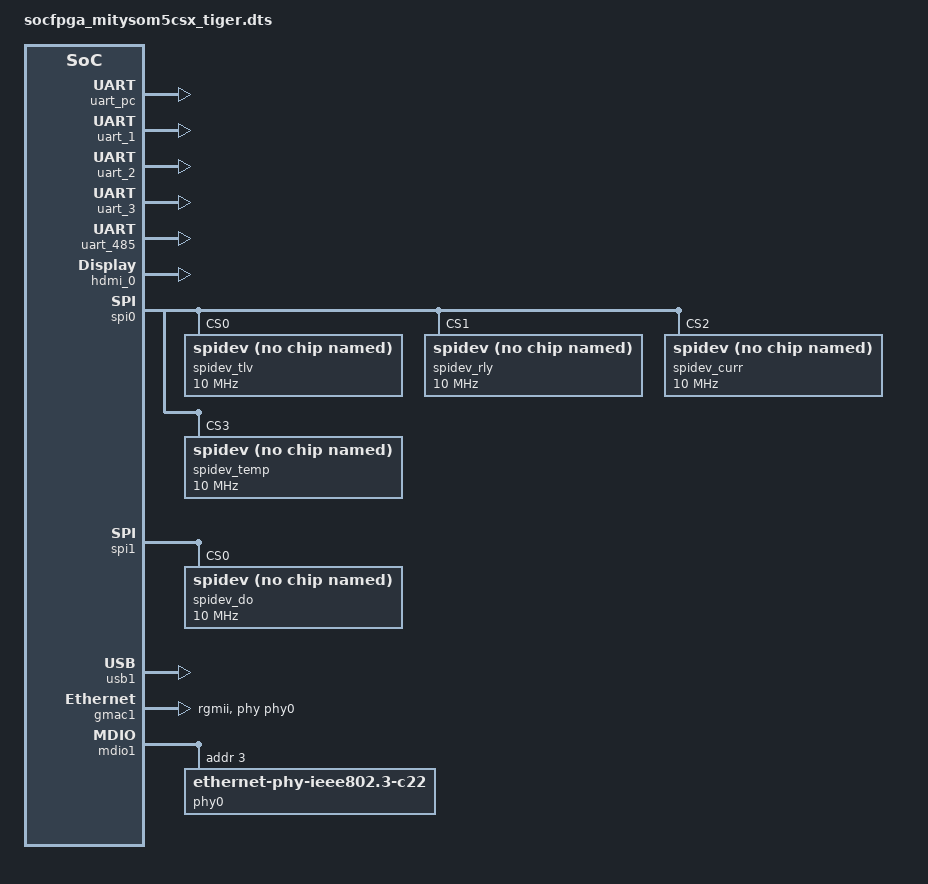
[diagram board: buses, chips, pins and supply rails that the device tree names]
#include "socfpga_mitysom5csx.dtsi"
#include <dt-bindings/interrupt-controller/irq.h>

/ {
	aliases {
		/* this allow the ethaddr uboot environmnet variable contents
		 * to be added to the gmac1 device tree blob.
		 */
		ethernet0 = &gmac1;
	};

	soc {

		hps_lw_bus: bus@0ff200000 {
			status = "okay";

			sysid_qsys: sysid@000000 {
				compatible = "altr,sysid-1.0";
				reg = <0x000000 0x08>;
			};

			uart_pc: serial@0200 {
				compatible = "altr,16550-FIFO128";
				reg = <0x0200 0x200>;
				interrupts = <0 40 4>;
				clock-frequency = <50000000>;
				fifo-size = <128>;
				reg-io-width = <4>;
				reg-shift = <2>;
				has-hw-flow-control;
			};

			uart_1: serial@0400 {
				compatible = "altr,16550-FIFO128";
				reg = <0x0400 0x200>;
				interrupts = <0 41 4>;
				clock-frequency = <50000000>;
				fifo-size = <128>;
				reg-io-width = <4>;
				reg-shift = <2>;
				has-hw-flow-control;
			};

			uart_2: serial@0600 {
				compatible = "altr,16550-FIFO128";
				reg = <0x0600 0x200>;
				interrupts = <0 42 4>;
				clock-frequency = <50000000>;
				fifo-size = <128>;
				reg-io-width = <4>;
				reg-shift = <2>;
				has-hw-flow-control;
			};

			uart_3: serial@0800 {
				compatible = "altr,16550-FIFO128";
				reg = <0x0800 0x200>;
				interrupts = <0 43 4>;
				clock-frequency = <50000000>;
				fifo-size = <128>;
				reg-io-width = <4>;
				reg-shift = <2>;
				has-hw-flow-control;
			};

			uart_485: serial@0a00 {
				compatible = "altr,16550-FIFO128";
				reg = <0x0a00 0x200>;
				interrupts = <0 47 4>;
				clock-frequency = <50000000>;
				fifo-size = <128>;
				reg-io-width = <4>;
				reg-shift = <2>;
				has-hw-flow-control;
			};

			pio_0: gpio@00a0 {
				compatible = "altr,pio-1.0";
				reg = <0x00a0 0x20>;
				interrupts = <0 44 4>;
				altr,gpio-bank-width = <16>;
				altr,interrupt_type = <IRQ_TYPE_EDGE_RISING>;
				#gpio-cells = <1>;
				gpio-controller;
				#interrupt-cells = <1>;
				interrupt-controller;
			};

			pio_1: gpio@00c0 {
				compatible = "altr,pio-1.0";
				reg = <0x00c0 0x20>;
				interrupts = <0 48 4>;
				altr,gpio-bank-width = <8>;
				altr,interrupt_type = <IRQ_TYPE_EDGE_RISING>;
				#gpio-cells = <1>;
				gpio-controller;
				#interrupt-cells = <1>;
				interrupt-controller;
			};

			hdmi_0: hdmi0x0100 {
				compatible = "altr,vip-frame-reader-1.0";
				reg = <0x0100 0x80>;
				max-width = <640>;
				max-height = <480>;
				bits-per-color = <0x8>;
				mem-word-width = <0x80>;
			};

			tsc2046: touchscreen0x0180 {
				compatible = "cl,tsc2046";
				reg = <0x180 0x20>;
				interrupts = <0 45 4>;
			};
		};

		streamer0: streamer@20000000 {
			compatible = "uio,irq";
			interrupts = <0 46 1>;
		};

		spi0: spi@fff00000 {
			num-chipselect = <4>;
			status = "okay";
			spidev_tlv@0 {
				compatible = "spidev";
				reg = <0>;
				spi-max-frequency = <10000000>;
				enable-dma = <1>;
			};
			spidev_rly@1 {
				compatible = "spidev";
				reg = <1>;	
				spi-max-frequency = <10000000>;
				enable-dma = <1>;
			};
			spidev_curr@2 {
				compatible = "spidev";
				reg = <2>;
				spi-max-frequency = <10000000>;
				enable-dma = <1>;
			};
			spidev_temp@3 {
				compatible = "spidev";
				reg = <3>;
				spi-max-frequency = <10000000>;
				enable-dma = <1>;
			};
		};

		spi1: spi@fff01000 {
			num-chipselect = <1>;
			status = "okay";
			spidev_do@0 {
				compatible = "spidev";
				reg = <0>;
				spi-max-frequency = <10000000>;
				enable-dma = <1>;
			};
		};

		usb1: usb@ffb40000 {
			status = "okay";
		};

		dwmmc0@ff704000 {
			num-slots = <1>;
			supports-highspeed;
			broken-cd;
			altr,dw-mshc-ciu-div = <3>;
			altr,dw-mshc-sdr-timing = <0 3>;

			slot@0 {
				reg = <0>;
				bus-width = <4>;
			};
		};

		gmac1: ethernet@ff702000 {
			status = "okay";
			phy-handle = <&phy0>;
			phy-mode = "rgmii";
			snps,max-mtu = <4062>;
		};

		mdio1: mdio@ff702000 {
			status = "okay";
			#address-cells = <1>;
			#size-cells = <0>;
			phy0: ethernet-phy@0 {
				reg = <0x3>;
				device_type = "ethernet-phy";
				compatible = "ethernet-phy-ieee802.3-c22";
			};
		};
	};
};
